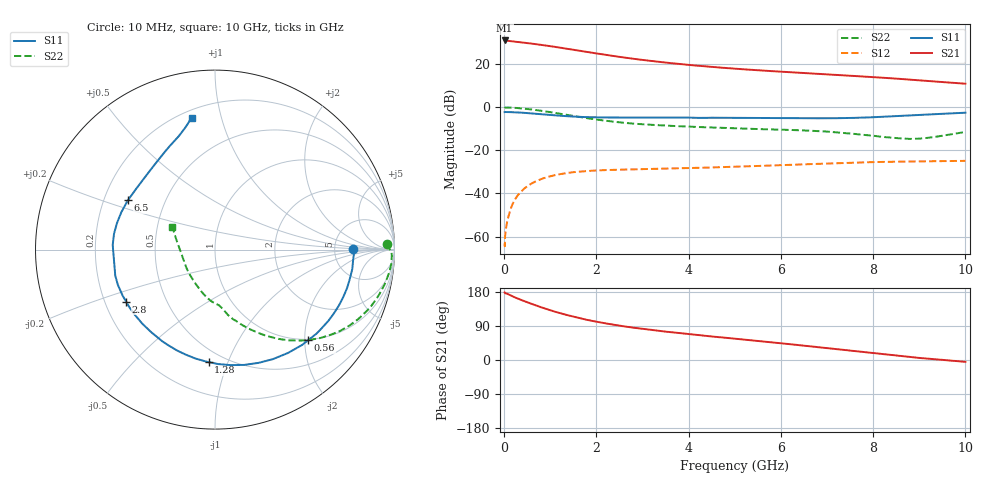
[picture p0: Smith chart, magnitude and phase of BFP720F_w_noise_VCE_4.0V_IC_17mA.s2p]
! Infineon Technologies  Discrete & RF Semiconductors
! BFP720F
! VCE =  4.0 V,  IC =  17 mA
! Common Emitter S-Parameters:  Jan 2016
# GHz  S  MA  R  50
!  f  S11  S21  S12  S22
! GHz  MAG  ANG  MAG  ANG  MAG  ANG  MAG  ANG
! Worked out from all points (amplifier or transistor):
!   233 points, 10 MHz to 10 GHz, reference 50 ohm
!   highest |S21| = 31.0 dB at 10 MHz (marker M1)
!   |S21| within 3 dB of that: start of sweep to 1.11 GHz
!   unconditionally stable (mu >= 1): start of sweep to 15.84 MHz; 5.893 GHz to end of sweep
!   at 200 MHz: K = 0.15, MSG = 37.3 dB, |S12| = -44.2 dB
!   at 1.74 GHz: K = 0.41, MSG = 27.8 dB, |S12| = -29.7 dB
!   at 10 GHz: K = 1.20, MAG = 15.2 dB, |S12| = -24.9 dB
!   lowest NFmin = 0.77 dB at 450 MHz
!   S11 on the Smith chart (normalised r, x): 10 MHz: 7.65, +0.20; 560 MHz: 0.98, -2.07; 1.28 GHz: 0.41, -0.86; 2.8 GHz: 0.29, -0.25; 6.5 GHz: 0.30, +0.24; 10 GHz: 0.24, +0.81
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0.01  0.7689 0.4  35.33 178.4  0.0007 -16.0  0.9561 1.9
0.02  0.775 -1.2  34.92 176.3  0.001 75.6  0.9831 -0.9
0.05  0.7719 -3.9  34.85 175.8  0.0018 76.1  0.9859 -1.9
0.16  0.7681 -12.9  33.85 169.2  0.0049 79.4  0.9793 -7.3
0.24  0.7627 -19.4  33.09 164.8  0.0074 77.1  0.9678 -10.9
0.42  0.743 -33.6  31.43 156.0  0.0125 71.2  0.9317 -18.6
0.56  0.7238 -44.3  30.19 149.7  0.0162 66.4  0.897 -24.2
0.74  0.6976 -57.7  28.55 141.8  0.0202 60.3  0.8479 -30.9
0.9  0.6758 -69.1  27.07 135.1  0.0234 55.4  0.8 -36.4
1.1  0.6497 -82.2  25.11 127.5  0.0266 49.9  0.7392 -42.6
1.28  0.6277 -93.2  23.44 121.3  0.0289 45.5  0.6861 -47.6
1.68  0.5947 -114.5  20.03 109.1  0.0324 37.8  0.5828 -57.0
1.92  0.5834 -124.7  18.22 102.9  0.0338 34.4  0.5327 -61.6
2.2  0.5782 -134.6  16.39 96.6  0.0349 31.1  0.4855 -66.2
2.8  0.5734 -149.6  13.28 85.3  0.0362 26.9  0.4158 -73.3
3.4  0.575 -158.7  11.14 76.5  0.0375 24.8  0.3798 -77.8
4  0.5744 -165.3  9.568 68.3  0.0388 23.6  0.354 -80.4
5.1  0.5682 169.7  7.692 55.1  0.042 22.7  0.3218 -84.1
6.5  0.5579 150.5  6.214 37.8  0.0474 20.6  0.2904 -93.4
6.8  0.5546 145.5  5.945 34.0  0.0486 19.9  0.2793 -96.8
8.4  0.6149 116.6  4.683 13.0  0.0544 14.2  0.1967 -137.1
10  0.7462 100.1  3.511 -4.9  0.0571 9.1  0.2679 152.3
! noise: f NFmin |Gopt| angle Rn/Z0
0.45  0.77  0.21  1  0.52
0.9  0.79  0.11  0  0.14
1.8  0.82  0.08  -6  0.16
2.4  0.83  0.08  -13  0.14
5.5  0.98  0.08  -18  0.1
10  1.15  0.35  -83  0.22
